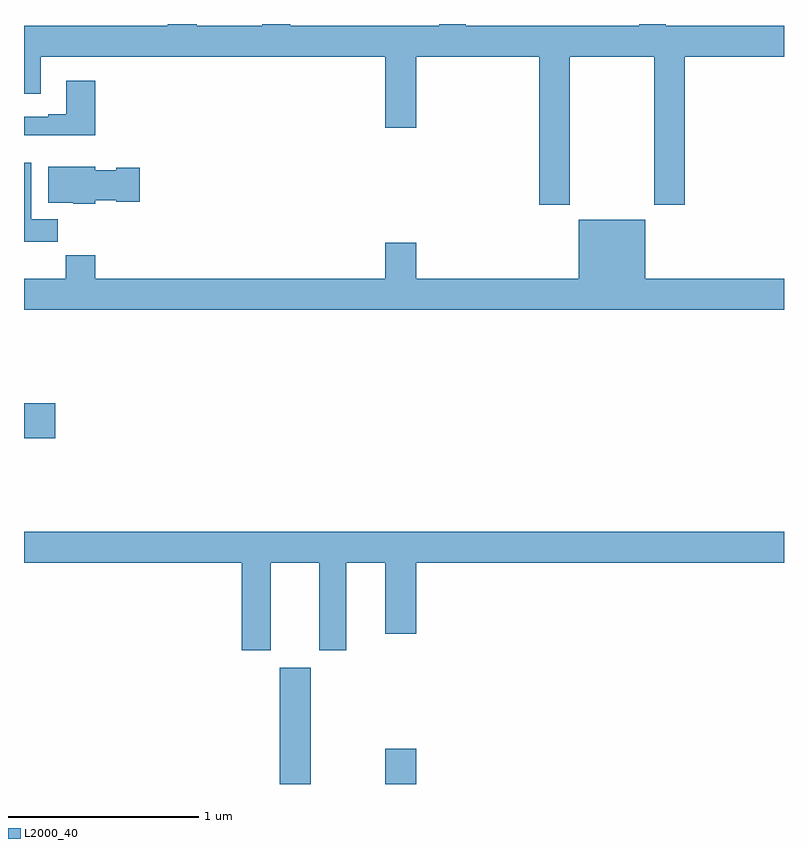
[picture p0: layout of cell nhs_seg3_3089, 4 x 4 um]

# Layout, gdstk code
import gdstk
lib = gdstk.Library(unit=1e-6, precision=1e-09)
def R(c, l, rs):  # rectangles x0, y0, x1, y1
    for r in rs: c.add(gdstk.rectangle(r[:2], r[2:], *l))
def P(c, l, *ps):  # polygons
    for p in ps: c.add(gdstk.Polygon(p, *l))
L2000_40 = (2000, 40)

nhs_seg3_3089 = lib.new_cell('nhs_seg3_3089')
R(nhs_seg3_3089, L2000_40, [(272.345,718.4,272.509,719.011), (272.9,718.4,273.064,718.585), (271,720.221,271.165,720.404)])
P(nhs_seg3_3089, L2000_40, [(271,722.034),(271.087,722.034),(271.087,722.228),(272.9,722.228),(272.9,721.854),(273.064,721.854),(273.064,722.228),(273.713,722.228),(273.713,721.449),(273.873,721.449),(273.873,722.228),(274.318,722.228),(274.318,721.449),(274.478,721.449),(274.478,722.228),(275,722.228),(275,722.392),(274.377,722.392),(274.377,722.4),(274.239,722.4),(274.239,722.392),(273.325,722.392),(273.325,722.4),(273.185,722.4),(273.185,722.392),(272.401,722.392),(272.401,722.4),(272.254,722.4),(272.254,722.392),(271.909,722.392),(271.909,722.4),(271.757,722.4),(271.757,722.392),(271,722.392)],
  [(271.376,722.101),(271.223,722.101),(271.223,721.924),(271.127,721.924),(271.127,721.911),(271,721.911),(271,721.814),(271.376,721.814)],
  [(271.178,721.372),(271.039,721.372),(271.039,721.669),(271,721.669),(271,721.254),(271.178,721.254)],
  [(271.374,721.472),(271.485,721.472),(271.485,721.465),(271.609,721.465),(271.609,721.643),(271.485,721.643),(271.485,721.63),(271.374,721.63),(271.374,721.648),(271.127,721.648),(271.127,721.46),(271.26,721.46),(271.26,721.454),(271.374,721.454)],
  [(275,721.06),(274.27,721.06),(274.27,721.369),(273.92,721.369),(273.92,721.06),(273.064,721.06),(273.064,721.249),(272.9,721.249),(272.9,721.06),(271.376,721.06),(271.376,721.184),(271.219,721.184),(271.219,721.06),(271,721.06),(271,720.896),(275,720.896)],
  [(271,719.564),(272.147,719.564),(272.147,719.103),(272.299,719.103),(272.299,719.564),(272.555,719.564),(272.555,719.103),(272.695,719.103),(272.695,719.564),(272.9,719.564),(272.9,719.19),(273.064,719.19),(273.064,719.564),(275,719.564),(275,719.728),(271,719.728)])

lib.write_gds('nhs_seg3_3089.gds')
